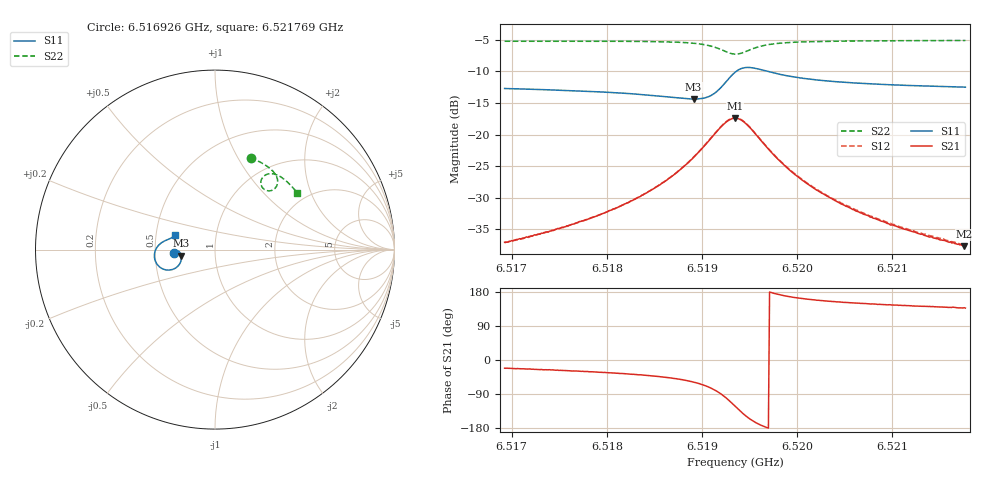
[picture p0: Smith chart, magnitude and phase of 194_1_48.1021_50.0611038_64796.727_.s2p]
#  HZ  S  RI  R  50.00
! Rohde & Schwarz Vector Network Analyzer
! Rohde-Schwarz,ZNB20-2Port,1311601062101988,3.16
! Created: UTC 12/23/2023, 3:54:04 AM
! freq[Hz]  re:S11  im:S11  re:S21  im:S21  re:S12  im:S12  re:S22  im:S22
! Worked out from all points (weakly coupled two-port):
!   401 points, 6.516926 GHz to 6.521769 GHz, reference 50 ohm
!   highest |S21| = -17.42 dB at 6.519347 GHz (marker M1); lowest = -37.7 dB at 6.521756 GHz (marker M2)
!   lowest |S11| = -14.4 dB at 6.518912 GHz (marker M3), VSWR 1.47, Z = 34.1 - j2.37 ohm
!   |S11| at or under -10 dB: start of sweep to 6.519359 GHz; 6.519691 GHz to end of sweep
!   |S22| runs from -7.3 to -5.1 dB; largest |S21 - S12| = 0.0043
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6.5169263e9  -0.2308 -0.0183  0.013 -0.00518  0.013 -0.00457  0.1981 0.5111
6.5174106e9  -0.2255 -0.0113  0.0154 -0.00759  0.0158 -0.00706  0.2339 0.4962
6.5177374e9  -0.2208 -0.00747  0.0179 -0.0103  0.0182 -0.00966  0.258 0.4841
6.5182216e9  -0.2113 -0.00517  0.0231 -0.0173  0.0237 -0.0164  0.2944 0.4615
6.5185485e9  -0.2016 -0.00938  0.0286 -0.0273  0.0296 -0.0266  0.3196 0.4402
6.5187301e9  -0.1948 -0.017  0.0323 -0.0376  0.0336 -0.0368  0.3337 0.4236
6.5189116e9  -0.1882 -0.0334  0.0345 -0.0559  0.0365 -0.0552  0.346 0.3998
6.5190327e9  -0.1876 -0.0541  0.0313 -0.0761  0.034 -0.0756  0.3494 0.3771
6.5191174e9  -0.1944 -0.0751  0.0221 -0.0952  0.0251 -0.0952  0.3448 0.3569
6.5192506e9  -0.2358 -0.1104  -0.0203 -0.1232  -0.0167 -0.1247  0.3131 0.3287
6.5193474e9  -0.292 -0.1071  -0.0706 -0.1146  -0.0677 -0.1177  0.2745 0.3353
6.519408e9  -0.3214 -0.0834  -0.0943 -0.0907  -0.0922 -0.0944  0.2586 0.3555
6.5194685e9  -0.3359 -0.0522  -0.1035 -0.0621  -0.1024 -0.0658  0.2557 0.3789
6.5195653e9  -0.3338 -0.00911  -0.0972 -0.0257  -0.0972 -0.0288  0.2693 0.4065
6.5196743e9  -0.3179 0.0199  -0.0803 -0.00351  -0.0809 -0.00596  0.2919 0.4202
6.5199043e9  -0.2877 0.0446  -0.0524 0.0113  -0.0533 0.00984  0.3307 0.4205
6.5201585e9  -0.2677 0.0541  -0.0357 0.0137  -0.0366 0.0127  0.3595 0.4091
6.5204853e9  -0.2526 0.0606  -0.0246 0.013  -0.0253 0.0124  0.3866 0.3909
6.5209696e9  -0.2386 0.0678  -0.0161 0.0109  -0.0167 0.0108  0.4179 0.3624
6.5212601e9  -0.2326 0.0718  -0.0131 0.0101  -0.0136 0.00994  0.4343 0.3447
6.5217564e9  -0.2239 0.0787  -0.00969 0.00874  -0.0101 0.00882  0.4589 0.3143
6.5217685e9  -0.2237 0.0788  -0.00958 0.00893  -0.0101 0.00873  0.4594 0.3133
